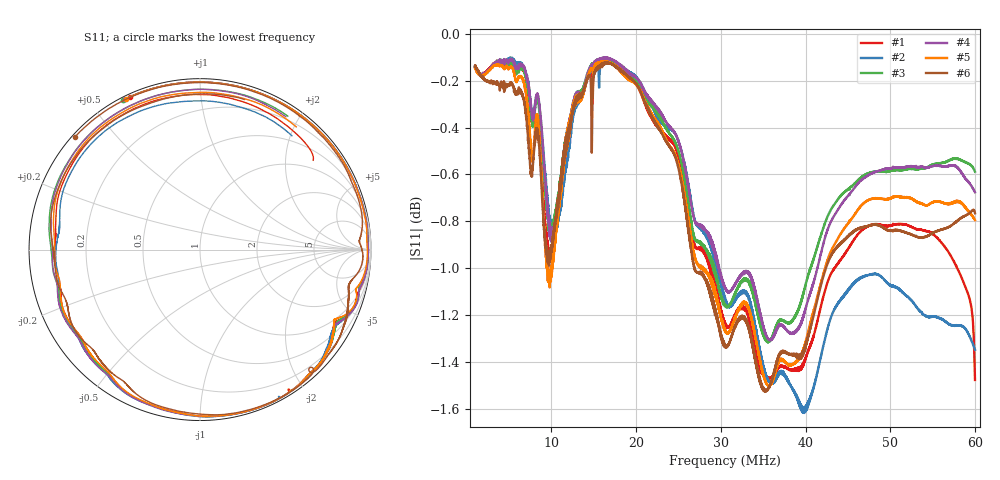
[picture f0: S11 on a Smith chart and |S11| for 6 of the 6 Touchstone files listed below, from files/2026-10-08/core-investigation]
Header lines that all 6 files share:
! NanoVNA Web complex sweep
! Processing: unaveraged complex samples; linear segment spacing; no smoothing
# Hz S RI R 50
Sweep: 1 MHz to 60 MHz
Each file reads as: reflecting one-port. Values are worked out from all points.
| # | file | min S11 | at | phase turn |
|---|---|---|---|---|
| 1 | bad-coreA_nanovna-sweep-1791482571787.s1p | -1.5 dB | 60 MHz | -436 deg |
| 2 | newcore1_5wrap_nanovna-sweep-1791482234802.s1p | -1.6 dB | 39.85 MHz | -426 deg |
| 3 | newcore2_5wrap_nanovna-sweep-1791483556976.s1p | -1.3 dB | 35.55 MHz | -421 deg |
| 4 | newcore2_5wrap_v2_nanovna-sweep-1791483683168.s1p | -1.3 dB | 35.82 MHz | -419 deg |
| 5 | newcore7_5wrap_nanovna-sweep-1791485262748.s1p | -1.5 dB | 35.73 MHz | -424 deg |
| 6 | no-core_nanovna-sweep-1791482400336.s1p | -1.5 dB | 35.28 MHz | -424 deg |
